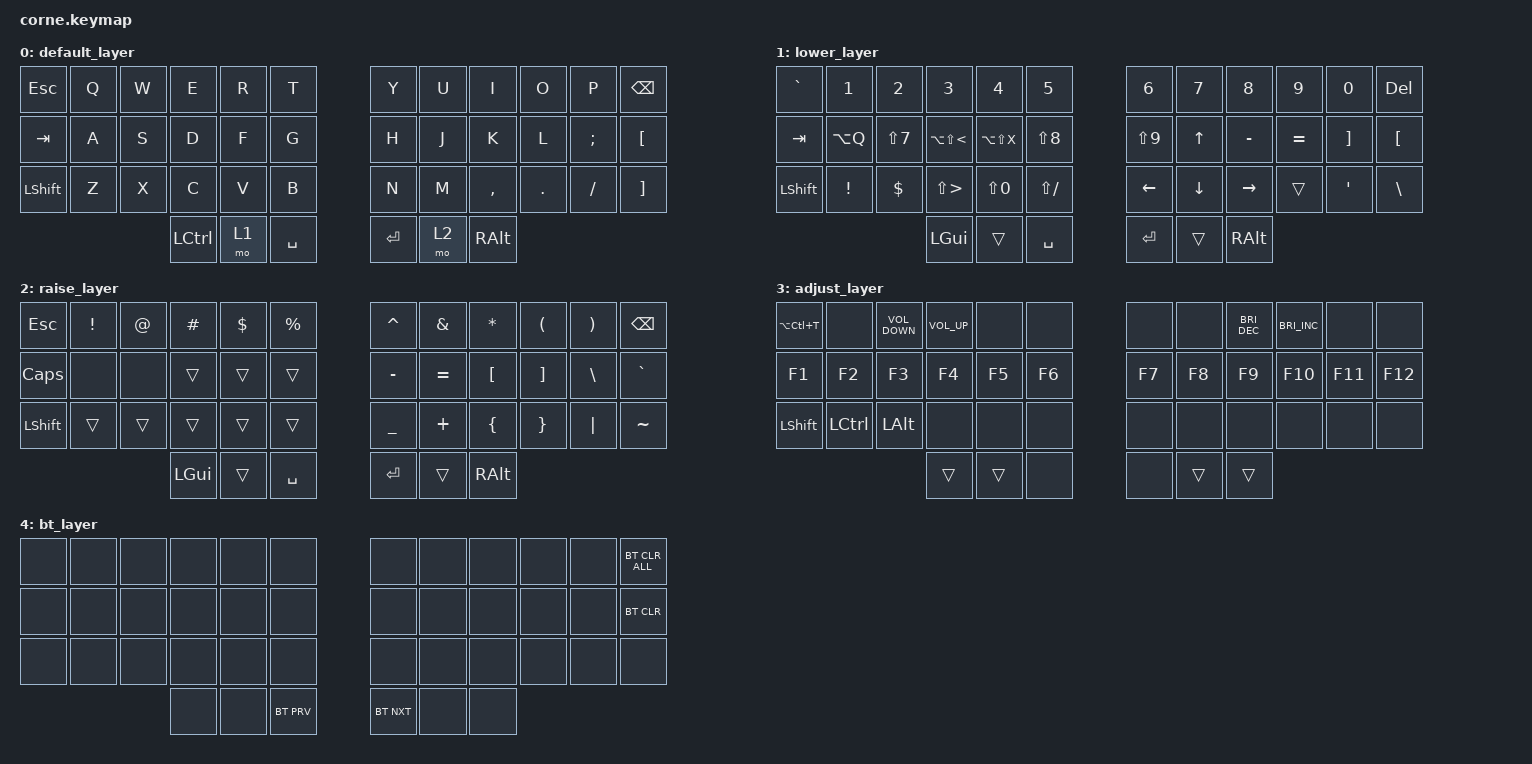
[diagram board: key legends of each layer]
/*
 * Copyright (c) 2020 The ZMK Contributors
 *
 * SPDX-License-Identifier: MIT
 */

#include <behaviors.dtsi>
#include <dt-bindings/zmk/bt.h>
#include <dt-bindings/zmk/keys.h>

/ {
    combos {
        compatible = "zmk,combos";

        make_scape {
            bindings = <&kp ESCAPE>;
            key-positions = <0 11>;
        };

        toggle_bt_layer {
            bindings = <&tog 4>;
            key-positions = <0 24 5 29>;
        };

        toggle_adjust {
            bindings = <&tog 3>;
            key-positions = <36 41>;
        };

        lock_screen {
            bindings = <&kp LG(L)>;
            key-positions = <0 24 35 11>;
        };

        minor {
            bindings = <&kp RA(LS(Z))>;
            key-positions = <12 1 25>;
        };

        mayor {
            bindings = <&kp RA(LS(X))>;
            key-positions = <23 10 34>;
        };
    };

    keymap {
        compatible = "zmk,keymap";

        default_layer {
            // -----------------------------------------------------------------------------------------
            // |  TAB |  Q  |  W  |  E  |  R  |  T  |   |  Y  |  U   |  I  |  O  |  P  | BSPC |
            // | CTRL |  A  |  S  |  D  |  F  |  G  |   |  H  |  J   |  K  |  L  |  ;  |  '   |
            // | SHFT |  Z  |  X  |  C  |  V  |  B  |   |  N  |  M   |  ,  |  .  |  /  | ESC  |
            //                    | GUI | LWR | SPC |   | ENT | RSE  | ALT |

            bindings = <
&kp ESCAPE  &kp Q  &kp W  &kp E      &kp R  &kp T        &kp Y    &kp U  &kp I      &kp O    &kp P     &kp BSPC
&kp TAB     &kp A  &kp S  &kp D      &kp F  &kp G        &kp H    &kp J  &kp K      &kp L    &kp SEMI  &kp LEFT_BRACKET
&kp LSHFT   &kp Z  &kp X  &kp C      &kp V  &kp B        &kp N    &kp M  &kp COMMA  &kp DOT  &kp FSLH  &kp RIGHT_BRACKET
                          &kp LCTRL  &mo 1  &kp SPACE    &kp RET  &mo 2  &kp RALT
            >;
        };

        lower_layer {
            // -----------------------------------------------------------------------------------------
            // |  TAB |  1  |  2  |  3  |  4  |  5  |   |  6  |  7  |  8  |  9  |  0  | BSPC |
            // | BTCLR| BT1 | BT2 | BT3 | BT4 | BT5 |   | LFT | DWN |  UP | RGT |     |      |
            // | SHFT |     |     |     |     |     |   |     |     |     |     |     |      |
            //                    | GUI |     | SPC |   | ENT |     | ALT |

            bindings = <
&kp GRAVE  &kp N1     &kp N2      &kp N3                 &kp N4         &kp N5          &kp N6          &kp N7          &kp N8           &kp N9     &kp N0             &kp DEL
&kp TAB    &kp LA(Q)  &kp LS(N7)  &kp LA(LS(LESS_THAN))  &kp LA(LS(X))  &kp LS(N8)      &kp LS(N9)      &kp UP_ARROW    &kp MINUS        &kp EQUAL  &kp RIGHT_BRACKET  &kp LEFT_BRACKET
&kp LSHFT  &kp EXCL   &kp DOLLAR  &kp LS(GREATER_THAN)   &kp LS(N0)     &kp LS(FSLH)    &kp LEFT_ARROW  &kp DOWN_ARROW  &kp RIGHT_ARROW  &trans     &kp SINGLE_QUOTE   &kp BACKSLASH
                                  &kp LGUI               &trans         &kp SPACE       &kp RET         &trans          &kp RALT
            >;
        };

        raise_layer {
            // -----------------------------------------------------------------------------------------
            // |  TAB |  !  |  @  |  #  |  $  |  %  |   |  ^  |  &  |  *  |  (  |  )  | BSPC |
            // | CTRL |     |     |     |     |     |   |  -  |  =  |  [  |  ]  |  \  |  `   |
            // | SHFT |     |     |     |     |     |   |  _  |  +  |  {  |  }  | "|" |  ~   |
            //                    | GUI |     | SPC |   | ENT |     | ALT |

            bindings = <
&kp ESCAPE    &kp EXCL  &kp AT  &kp HASH  &kp DLLR  &kp PRCNT    &kp CARET  &kp AMPS   &kp ASTRK  &kp LPAR  &kp RPAR  &kp BSPC
&kp CAPSLOCK  &none     &none   &trans    &trans    &trans       &kp MINUS  &kp EQUAL  &kp LBKT   &kp RBKT  &kp BSLH  &kp GRAVE
&kp LSHFT     &trans    &trans  &trans    &trans    &trans       &kp UNDER  &kp PLUS   &kp LBRC   &kp RBRC  &kp PIPE  &kp TILDE
                                &kp LGUI  &trans    &kp SPACE    &kp RET    &trans     &kp RALT
            >;
        };

        adjust_layer {
            bindings = <
&kp LA(LC(T))  &none      &kp C_VOLUME_DOWN  &kp C_VOLUME_UP  &none   &none     &none   &none   &kp C_BRI_DEC  &kp C_BRI_INC  &none    &none
&kp F1         &kp F2     &kp F3             &kp F4           &kp F5  &kp F6    &kp F7  &kp F8  &kp F9         &kp F10        &kp F11  &kp F12
&kp LSHFT      &kp LCTRL  &kp LEFT_ALT       &none            &none   &none     &none   &none   &none          &none          &none    &none
                                             &trans           &trans  &none     &none   &trans  &trans
            >;
        };

        bt_layer {
            bindings = <
&none  &none  &none  &none  &none  &none         &none       &none  &none  &none  &none  &bt BT_CLR_ALL
&none  &none  &none  &none  &none  &none         &none       &none  &none  &none  &none  &bt BT_CLR
&none  &none  &none  &none  &none  &none         &none       &none  &none  &none  &none  &none
                     &none  &none  &bt BT_PRV    &bt BT_NXT  &none  &none
            >;
        };
    };

    conditional_layers { compatible = "zmk,conditional-layers"; };
};
